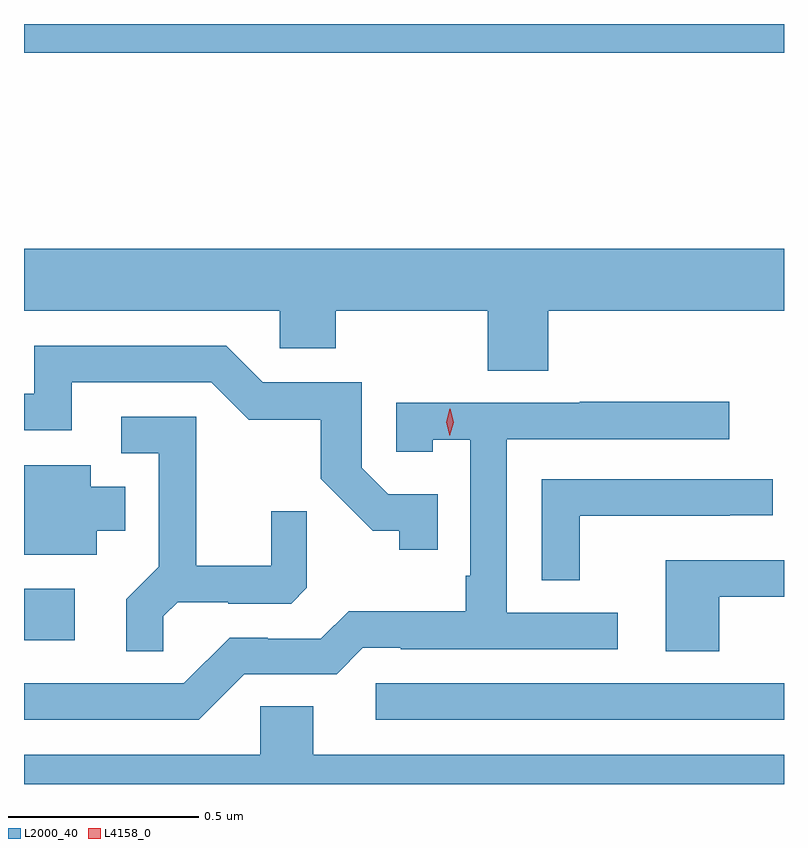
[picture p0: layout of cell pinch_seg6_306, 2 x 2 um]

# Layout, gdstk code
import gdstk
lib = gdstk.Library(unit=1e-6, precision=1e-09)
def R(c, l, rs):  # rectangles x0, y0, x1, y1
    for r in rs: c.add(gdstk.rectangle(r[:2], r[2:], *l))
def P(c, l, *ps):  # polygons
    for p in ps: c.add(gdstk.Polygon(p, *l))
L2000_40 = (2000, 40)
L4158_0 = (4158, 0)

pinch_seg6_306 = lib.new_cell('pinch_seg6_306')
R(pinch_seg6_306, L2000_40, [(796.293,978.228,797.368,978.324), (795.368,978.437,795.502,978.573), (795.368,979.984,797.368,980.059)])
P(pinch_seg6_306, L2000_40, [(796.748,979.304),(797.368,979.304),(797.368,979.468),(795.368,979.468),(795.368,979.304),(796.041,979.304),(796.041,979.206),(796.188,979.206),(796.188,979.304),(796.588,979.304),(796.588,979.147),(796.748,979.147)],
  [(796.457,978.822),(796.326,978.822),(796.257,978.891),(796.257,979.116),(795.996,979.116),(795.9,979.212),(795.395,979.212),(795.395,979.086),(795.368,979.086),(795.368,978.99),(795.493,978.99),(795.493,979.116),(795.861,979.116),(795.96,979.018),(796.149,979.018),(796.149,978.862),(796.286,978.725),(796.356,978.725),(796.356,978.675),(796.457,978.675)],
  [(795.948,978.348),(796.191,978.348),(796.26,978.417),(796.36,978.417),(796.36,978.414),(796.93,978.414),(796.93,978.51),(796.638,978.51),(796.638,978.966),(797.224,978.966),(797.224,979.065),(796.831,979.065),(796.831,979.062),(796.347,979.062),(796.347,978.933),(796.443,978.933),(796.443,978.965),(796.542,978.965),(796.542,978.607),(796.53,978.607),(796.53,978.514),(796.222,978.514),(796.149,978.441),(796.01,978.441),(796.01,978.444),(795.909,978.444),(795.789,978.324),(795.368,978.324),(795.368,978.228),(795.828,978.228)],
  [(795.735,978.5),(795.772,978.537),(795.906,978.537),(795.906,978.534),(796.071,978.534),(796.112,978.575),(796.112,978.777),(796.018,978.777),(796.018,978.634),(795.821,978.634),(795.821,979.026),(795.624,979.026),(795.624,978.93),(795.723,978.93),(795.723,978.631),(795.637,978.545),(795.637,978.409),(795.735,978.409)],
  [(795.559,978.725),(795.634,978.725),(795.634,978.841),(795.544,978.841),(795.544,978.898),(795.368,978.898),(795.368,978.662),(795.559,978.662)],
  [(796.83,978.765),(797.225,978.765),(797.225,978.766),(797.338,978.766),(797.338,978.861),(796.731,978.861),(796.731,978.595),(796.83,978.595)],
  [(797.197,978.552),(797.368,978.552),(797.368,978.648),(797.057,978.648),(797.057,978.409),(797.197,978.409)],
  [(797.368,978.136),(796.129,978.136),(796.129,978.263),(795.99,978.263),(795.99,978.136),(795.368,978.136),(795.368,978.059),(797.368,978.059)])
P(pinch_seg6_306, L4158_0, [(796.489,978.975),(796.489,978.975),(796.479,979.011),(796.489,979.047),(796.49,979.047),(796.49,979.047),(796.499,979.011),(796.489,978.975)])

lib.write_gds('pinch_seg6_306.gds')
